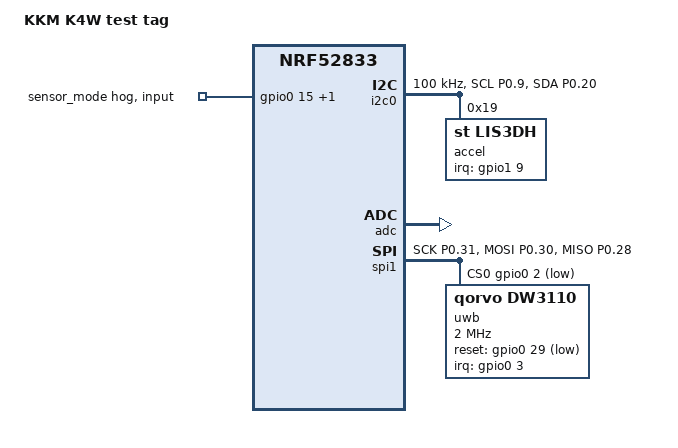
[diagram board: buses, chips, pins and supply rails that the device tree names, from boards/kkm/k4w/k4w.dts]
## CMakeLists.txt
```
cmake_minimum_required(VERSION 3.20.0)
list(APPEND BOARD_ROOT ${CMAKE_CURRENT_SOURCE_DIR})
find_package(Zephyr REQUIRED HINTS $ENV{ZEPHYR_BASE})
project(binrange_k4w_tag)
zephyr_get(BINRANGE_RADIO_DIAGNOSTIC SYSBUILD LOCAL)
option(BINRANGE_RADIO_DIAGNOSTIC "Read radio identity only, no transmissions" ON)
if(BINRANGE_RADIO_DIAGNOSTIC)
  target_sources(app PRIVATE src/main.c)
else()
  target_sources(app PRIVATE src/ranging_main.cpp src/radio_port.cpp src/protocol.c
    ../shared/Dw3000/src/dw3000_device_api.cpp)
  target_include_directories(app PRIVATE ../shared/Dw3000/src)
  target_compile_definitions(app PRIVATE BINRANGE_ZEPHYR=1)
endif()
if(CONFIG_MCUMGR)
  target_sources(app PRIVATE src/ota_runtime.c src/update_policy.c src/motion_policy.c src/motion_settings.c src/tag_power.c src/tip_policy.c src/tip_monitor.c)
  target_compile_definitions(app PRIVATE BINRANGE_OTA=1)
endif()
```

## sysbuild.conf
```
SB_CONFIG_BOOTLOADER_MCUBOOT=y
SB_CONFIG_PARTITION_MANAGER=n
SB_CONFIG_MCUBOOT_MODE_SWAP_USING_OFFSET=y
SB_CONFIG_BOOT_SIGNATURE_TYPE_ECDSA_P256=y
```

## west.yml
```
manifest:
  projects:
    - name: nrf
      url: https://github.com/nrfconnect/sdk-nrf
      # Nordic SDK v3.3.0; its manifest pins every imported dependency.
      revision: ba167d9f3db4abbdc9b67887ca3ea66c64f2d956
      import:
        name-allowlist:
          - zephyr
          - cmsis
          - cmsis_6
          - hal_nordic
          - segger
          - picolibc
          - nrfxlib
          - mcuboot
          - mbedtls
          - oberon-psa-crypto
          - zcbor
  self:
    path: application
```

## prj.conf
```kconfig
CONFIG_GPIO=y
CONFIG_SPI=y
CONFIG_SERIAL=n
CONFIG_CONSOLE=n
CONFIG_UART_CONSOLE=n
CONFIG_LOG=n
CONFIG_PRINTK=n
CONFIG_MAIN_STACK_SIZE=2048
CONFIG_NRF_APPROTECT_USE_UICR=y
CONFIG_CLOCK_CONTROL_NRF_K32SRC_RC=y
CONFIG_CLOCK_CONTROL_NRF_K32SRC_XTAL=n
CONFIG_ASSERT=y
CONFIG_CPP=y
```

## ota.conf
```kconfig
# Build integration first; not a deployable updater until runtime gates exist.
CONFIG_FLASH=y
CONFIG_FLASH_MAP=y
CONFIG_FLASH_PAGE_LAYOUT=y
CONFIG_NVS=y
CONFIG_SETTINGS=y
CONFIG_SETTINGS_NVS=y
CONFIG_BT=y
CONFIG_BT_PERIPHERAL=y
CONFIG_BT_SMP=y
CONFIG_BT_SMP_SC_ONLY=y
CONFIG_BT_SMP_APP_PAIRING_ACCEPT=y
CONFIG_BT_APP_PASSKEY=y
CONFIG_BT_BONDABLE=y
CONFIG_BT_SETTINGS=y
CONFIG_BT_MAX_CONN=1
CONFIG_BT_MAX_PAIRED=2
CONFIG_BT_DEVICE_NAME="BinRange Test tag"
CONFIG_MCUMGR=y
CONFIG_NET_BUF=y
CONFIG_ZCBOR=y
CONFIG_MCUMGR_TRANSPORT_BT=y
CONFIG_MCUMGR_TRANSPORT_BT_PERM_RW_AUTHEN=y
CONFIG_MCUMGR_MGMT_NOTIFICATION_HOOKS=y
CONFIG_MCUMGR_SMP_COMMAND_STATUS_HOOKS=y
CONFIG_MCUMGR_GRP_IMG_ALLOW_CONFIRM_NON_ACTIVE_SLOT=n
CONFIG_MCUMGR_GRP_IMG_ALLOW_ERASE_PENDING=n
CONFIG_MCUMGR_TRANSPORT_BT_REASSEMBLY=y
CONFIG_MCUMGR_TRANSPORT_NETBUF_SIZE=512
CONFIG_MCUMGR_SMP_CBOR_MAX_MAIN_MAP_ENTRIES=24
CONFIG_MCUMGR_GRP_IMG=y
CONFIG_MCUMGR_GRP_OS=y
CONFIG_IMG_MANAGER=y
CONFIG_STREAM_FLASH=y
CONFIG_SYSTEM_WORKQUEUE_STACK_SIZE=2048
CONFIG_MAIN_STACK_SIZE=4096
CONFIG_HWINFO=y
CONFIG_SETTINGS_NVS_SECTOR_COUNT=5
CONFIG_GPIO_HOGS=y
CONFIG_I2C=y
CONFIG_SENSOR=y
CONFIG_LIS2DH=y
CONFIG_LIS2DH_TRIGGER_GLOBAL_THREAD=y
CONFIG_LIS2DH_OPER_MODE_LOW_POWER=y
CONFIG_LIS2DH_ACCEL_RANGE_2G=y
CONFIG_LIS2DH_ODR_3=y
CONFIG_LIS2DH_ACCEL_HP_FILTERS=y
CONFIG_ADC=y
# Fit application changes inside the existing signed slot; no layout migration.
CONFIG_LTO=y
CONFIG_ISR_TABLES_LOCAL_DECLARATION=y
CONFIG_PM_DEVICE=y
CONFIG_PM_DEVICE_RUNTIME=y
CONFIG_PM_DEVICE_RUNTIME_DEFAULT_ENABLE=n
# Bound a broken sensor bus so BLE/watchdog handling can continue.
CONFIG_I2C_NRFX_TRANSFER_TIMEOUT=50
```

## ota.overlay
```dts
/* Candidate 512-KiB layout; verifier must approve artifacts before flashing. */
/ {
    chosen { zephyr,code-partition = &slot0_partition; };
    aliases { sw0 = &tag_key; };
    buttons {
        compatible = "gpio-keys";
        tag_key: key { gpios = <&gpio0 4 (GPIO_PULL_UP | GPIO_ACTIVE_LOW)>; };
    };
};
&flash0 {
    partitions {
        compatible = "fixed-partitions";
        #address-cells = <1>;
        #size-cells = <1>;
        boot_partition: partition@0 {
            label = "mcuboot";
            reg = <0x0 0x10000>;
        };
        slot0_partition: partition@10000 {
            label = "image-0";
            reg = <0x10000 0x35000>;
        };
        slot1_partition: partition@45000 {
            label = "image-1";
            reg = <0x45000 0x36000>;
        };
        storage_partition: partition@7b000 {
            label = "storage";
            reg = <0x7b000 0x5000>;
        };
    };
};
```

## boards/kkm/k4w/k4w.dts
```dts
/dts-v1/;
#include <nordic/nrf52833_qdaa.dtsi>
#include <zephyr/dt-bindings/gpio/gpio.h>
#include <zephyr/dt-bindings/pinctrl/nrf-pinctrl.h>

/ {
	model = "KKM K4W test tag";
	compatible = "kkm,k4w";
	chosen {
		zephyr,sram = &sram0;
		zephyr,flash = &flash0;
	};
};

&gpio0 {
	status = "okay";
	/* Keep LIS3DH in I2C mode, address 0x19, without driving a strap. */
	sensor_mode {
		gpio-hog;
		gpios = <15 GPIO_PULL_UP>, <17 GPIO_PULL_UP>;
		input;
	};
};
&gpio1 { status = "okay"; };
&gpiote { status = "okay"; };

&pinctrl {
	sensor_i2c: sensor_i2c {
		group1 {
			psels = <NRF_PSEL(TWIM_SCL, 0, 9)>, <NRF_PSEL(TWIM_SDA, 0, 20)>;
			bias-pull-up;
		};
	};
	sensor_i2c_sleep: sensor_i2c_sleep {
		group1 {
			psels = <NRF_PSEL(TWIM_SCL, 0, 9)>, <NRF_PSEL(TWIM_SDA, 0, 20)>;
			low-power-enable;
			bias-pull-up;
		};
	};
	uwb_sleep: uwb_sleep {
		group1 {
			psels = <NRF_PSEL(SPIM_SCK, 0, 31)>,
				<NRF_PSEL(SPIM_MOSI, 0, 30)>, <NRF_PSEL(SPIM_MISO, 0, 28)>;
			low-power-enable;
		};
	};
	uwb_default: uwb_default {
		group1 {
			psels = <NRF_PSEL(SPIM_SCK, 0, 31)>,
				<NRF_PSEL(SPIM_MOSI, 0, 30)>,
				<NRF_PSEL(SPIM_MISO, 0, 28)>;
		};
	};
};

&i2c0 {
	compatible = "nordic,nrf-twim";
	status = "okay";
	clock-frequency = <100000>;
	pinctrl-0 = <&sensor_i2c>;
	pinctrl-1 = <&sensor_i2c_sleep>;
	pinctrl-names = "default", "sleep";
	zephyr,pm-device-runtime-auto;
	accel: accelerometer@19 {
		compatible = "st,lis3dh", "st,lis2dh";
		reg = <0x19>;
		irq-gpios = <&gpio1 9 GPIO_ACTIVE_HIGH>;
		anym-on-int1;
		int2-gpio-config = <1>; /* any-motion handler uses this even on INT1 */
	};
};

&adc { status = "okay"; };

&spi1 {
	compatible = "nordic,nrf-spim";
	status = "okay";
	pinctrl-0 = <&uwb_default>;
	pinctrl-1 = <&uwb_sleep>;
	pinctrl-names = "default", "sleep";
	zephyr,pm-device-runtime-auto;
	cs-gpios = <&gpio0 2 GPIO_ACTIVE_LOW>;
	uwb: uwb@0 {
		compatible = "qorvo,dw3110";
		reg = <0>;
		spi-max-frequency = <2000000>;
		reset-gpios = <&gpio0 29 GPIO_ACTIVE_LOW>;
		irq-gpios = <&gpio0 3 GPIO_ACTIVE_HIGH>;
	};
};
```

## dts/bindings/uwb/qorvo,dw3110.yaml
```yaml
description: BinRange DW3110 raw SPI hardware boundary
compatible: "qorvo,dw3110"
include: spi-device.yaml
properties:
  reset-gpios:
    type: phandle-array
    required: true
  irq-gpios:
    type: phandle-array
    required: true
```

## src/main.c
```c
/* Bench diagnostic: no radio TX, no flash/UICR writes, no BLE yet. */
#include <zephyr/kernel.h>
#include <zephyr/drivers/gpio.h>
#include <zephyr/drivers/spi.h>
#include <zephyr/sys/byteorder.h>

/* Locate with nm, inspect via SWD. Phase 3 means SPI reads are running;
 * it is not a claim that radio initialization or ranging has succeeded. */
volatile struct {
    uint32_t magic;
    uint32_t phase;
    int32_t error;
    uint32_t radio_id;
    uint32_t reads;
} tag_diag = { .magic = 0x42524447 };

static const struct spi_dt_spec radio =
    SPI_DT_SPEC_GET(DT_NODELABEL(uwb), SPI_WORD_SET(8) | SPI_TRANSFER_MSB, 0);
static const struct gpio_dt_spec reset =
    GPIO_DT_SPEC_GET(DT_NODELABEL(uwb), reset_gpios);

int main(void)
{
    tag_diag.phase = 1;
    if (!spi_is_ready_dt(&radio) || !gpio_is_ready_dt(&reset)) {
        tag_diag.error = -ENODEV;
        return 0;
    }
    /* Assert active-low reset, then RELEASE it; do not drive RSTn high. */
    int rc = gpio_pin_configure_dt(&reset, GPIO_OUTPUT_ACTIVE);
    if (rc) { tag_diag.error = rc; return 0; }
    k_msleep(2);
    rc = gpio_pin_configure_dt(&reset, GPIO_INPUT);
    if (rc) { tag_diag.error = rc; return 0; }
    k_msleep(10);
    tag_diag.phase = 2;
    while (true) {
        uint8_t tx[5] = {0}; /* Fast-access read, register file 0, offset 0. */
        uint8_t rx[5] = {0};
        struct spi_buf tx_buf = {.buf = tx, .len = sizeof(tx)};
        struct spi_buf rx_buf = {.buf = rx, .len = sizeof(rx)};
        struct spi_buf_set tx_set = {.buffers = &tx_buf, .count = 1};
        struct spi_buf_set rx_set = {.buffers = &rx_buf, .count = 1};
        rc = spi_transceive_dt(&radio, &tx_set, &rx_set);
        tag_diag.error = rc;
        if (!rc) {
            tag_diag.radio_id = sys_get_le32(rx + 1);
            tag_diag.reads++;
        }
        tag_diag.phase = 3;
        k_msleep(1000);
    }
}
```

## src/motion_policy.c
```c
#include "motion_policy.h"

#include <limits.h>
#include <stddef.h>

static uint64_t monotonic_now(const br_motion_state *state, uint64_t now) {
    return now < state->last_now ? state->last_now : now;
}

static uint64_t add_ms(uint64_t now, uint32_t duration_ms) {
    const uint64_t duration = duration_ms;
    if (UINT64_MAX - now < duration) return UINT64_MAX;
    return now + duration;
}

void br_motion_defaults(br_motion_config *config) {
    if (!config) return;
    config->moving_ms = 5000;
    config->idle_ms = 600000;
    config->quiet_ms = 30000;
    config->threshold_mg = 250;
    config->duration_samples = 2;
}

bool br_motion_config_valid(const br_motion_config *config) {
    if (!config) return false;
    return config->moving_ms >= 1000 && config->moving_ms <= 60000 &&
           config->idle_ms >= 60000 && config->idle_ms <= 3600000 &&
           config->quiet_ms >= 5000 && config->quiet_ms <= 300000 &&
           config->threshold_mg >= 32 && config->threshold_mg <= 1000 &&
           config->duration_samples >= 1 && config->duration_samples <= 127 &&
           config->idle_ms >= config->moving_ms;
}

void br_motion_init(br_motion_state *state, const br_motion_config *config,
                    uint64_t now) {
    if (!state) return;
    br_motion_config defaults;
    if (!br_motion_config_valid(config)) {
        br_motion_defaults(&defaults);
        config = &defaults;
    }
    state->config = *config;
    state->moving = false;
    state->wake_count = 0;
    state->next_report_at = now;
    state->quiet_deadline = now;
    state->last_now = now;
    state->report_pending = true;
    state->idle_retries = 0;
}

bool br_motion_due(const br_motion_state *state, uint64_t now) {
    if (!state) return false;
    now = monotonic_now(state, now);
    return state->report_pending || now >= state->next_report_at ||
           (state->moving && now >= state->quiet_deadline);
}

bool br_motion_update(br_motion_state *state, uint64_t now,
                      bool motion_event) {
    if (!state) return false;
    now = monotonic_now(state, now);
    state->last_now = now;

    if (motion_event) {
        if (!state->moving) {
            state->moving = true;
            state->idle_retries = 0;
            if (state->wake_count != UINT32_MAX) state->wake_count++;
            state->report_pending = true;
        }
        state->quiet_deadline = add_ms(now, state->config.quiet_ms);
    } else if (state->moving && now >= state->quiet_deadline) {
        state->moving = false;
        state->report_pending = true;
    }
    return br_motion_due(state, now);
}

void br_motion_reported(br_motion_state *state, uint64_t now) {
    if (!state) return;
    now = monotonic_now(state, now);
    state->last_now = now;
    state->report_pending = false;
    state->idle_retries = 0;
    state->next_report_at = add_ms(
        now, state->moving ? state->config.moving_ms : state->config.idle_ms);
}

void br_motion_attempted(br_motion_state *state, uint64_t now, bool sent) {
    if (!state) return;
    if (sent || state->moving || state->idle_retries >= 2) {
        br_motion_reported(state, now);
        return;
    }
    now = monotonic_now(state, now);
    state->last_now = now;
    state->report_pending = false;
    ++state->idle_retries;
    state->next_report_at = add_ms(now, 5000);
}

bool br_motion_reconfigure(br_motion_state *state,
                           const br_motion_config *config, uint64_t now) {
    if (!state || !br_motion_config_valid(config)) return false;
    now = monotonic_now(state, now);
    state->last_now = now;
    state->config = *config;
    state->idle_retries = 0;
    if (state->moving) state->quiet_deadline = add_ms(now, config->quiet_ms);
    state->report_pending = true;
    return true;
}
```

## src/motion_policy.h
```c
#pragma once

#include <stdbool.h>
#include <stdint.h>

#ifdef __cplusplus
extern "C" {
#endif

typedef struct br_motion_config {
    uint32_t moving_ms;
    uint32_t idle_ms;
    uint32_t quiet_ms;
    uint32_t threshold_mg;
    uint32_t duration_samples;
} br_motion_config;

typedef struct br_motion_state {
    br_motion_config config;
    bool moving;
    uint32_t wake_count;
    uint64_t next_report_at;
    uint64_t quiet_deadline;
    uint64_t last_now;
    bool report_pending;
    uint8_t idle_retries;
} br_motion_state;

void br_motion_defaults(br_motion_config *config);
bool br_motion_config_valid(const br_motion_config *config);
void br_motion_init(br_motion_state *state, const br_motion_config *config,
                    uint64_t now);
bool br_motion_update(br_motion_state *state, uint64_t now,
                      bool motion_event);
bool br_motion_due(const br_motion_state *state, uint64_t now);
void br_motion_reported(br_motion_state *state, uint64_t now);
/* Local TX success is not proof that the anchor received the FINAL. */
void br_motion_attempted(br_motion_state *state, uint64_t now, bool sent);
bool br_motion_reconfigure(br_motion_state *state,
                           const br_motion_config *config, uint64_t now);

#ifdef __cplusplus
}
#endif
```

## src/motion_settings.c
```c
#include "motion_settings.h"

void br_motion_settings_init(struct br_motion_settings *s) {
    br_motion_defaults(&s->wanted);
    s->revision = 1; s->applying = 0; s->pending = true;
}
void br_motion_settings_saved(struct br_motion_settings *s, const struct br_motion_config *c) {
    s->wanted = *c; ++s->revision; s->pending = true;
}
bool br_motion_settings_take(struct br_motion_settings *s, struct br_motion_config *out) {
    *out = s->wanted; s->applying = s->revision;
    return s->pending;
}
void br_motion_settings_applied(struct br_motion_settings *s) {
    if (s->applying == s->revision) s->pending = false;
}
```

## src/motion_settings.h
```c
#ifndef BR_MOTION_SETTINGS_H
#define BR_MOTION_SETTINGS_H
#include "motion_policy.h"

/* Owner supplies synchronization. A take is not an application acknowledgment.
 * A new save while the main owner applies an older record remains pending. */
struct br_motion_settings {
    struct br_motion_config wanted;
    uint64_t revision, applying;
    bool pending;
};
void br_motion_settings_init(struct br_motion_settings *state);
void br_motion_settings_saved(struct br_motion_settings *state, const struct br_motion_config *config);
bool br_motion_settings_take(struct br_motion_settings *state, struct br_motion_config *out);
void br_motion_settings_applied(struct br_motion_settings *state);
#endif
```

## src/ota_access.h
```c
#ifndef BR_OTA_ACCESS_H
#define BR_OTA_ACCESS_H
#include "update_policy.h"

/* Header-only runtime decisions; all times are monotonic uint64 milliseconds. */
struct br_ota_access {
    uint64_t start_ms, activity_ms, cooldown_until_ms, pairing_until_ms;
    unsigned attempts;
    bool open;
};
static inline bool br_ota_access_allowed(const struct br_ota_access *a,
                                        uint64_t now, bool authenticated) {
    return authenticated && a->open && now-a->start_ms < 600000 &&
           now-a->activity_ms < 60000;
}
static inline bool br_ota_authenticated(const struct br_ota_access *a, uint64_t now,
                                       bool admitted, bool secure) {
    return admitted && secure && br_ota_access_allowed(a, now, true);
}
static inline void br_ota_expire(struct br_ota_access *a, uint64_t now) {
    if (a->open && !br_ota_access_allowed(a, now, true)) {
        uint64_t end = a->start_ms + 600000;
        if (a->activity_ms + 60000 < end) end = a->activity_ms + 60000;
        a->open = false;
        a->pairing_until_ms = 0;
        a->cooldown_until_ms = end + 60000;
    }
}
static inline bool br_ota_pairing_allowed(const struct br_ota_access *a, uint64_t now) {
    return br_ota_access_allowed(a, now, true) && now < a->pairing_until_ms;
}
static inline bool br_ota_local(struct br_ota_access *a, uint64_t now) {
    br_ota_expire(a, now);
    if (now < a->cooldown_until_ms) return false;
    if (!a->open) {
        a->open = true; a->attempts = 0;
        a->start_ms = a->activity_ms = now;
    }
    a->pairing_until_ms = now + 60000;
    return true;
}
static inline bool br_ota_attempt(struct br_ota_access *a, uint64_t now, bool known) {
    br_ota_expire(a, now);
    if (now < a->cooldown_until_ms || (!known && !br_ota_pairing_allowed(a, now)))
        return false;
    if (!a->open) {
        a->open = true; a->attempts = 0;
        a->start_ms = a->activity_ms = now;
    }
    if (a->attempts >= 3) return false;
    a->attempts++;
    return true;
}
static inline void br_ota_end_attempt(struct br_ota_access *a, uint64_t now) {
    br_ota_expire(a, now);
    if (a->open && a->attempts >= 3) {
        a->open = false; a->pairing_until_ms = 0;
        a->cooldown_until_ms = now + 60000;
    }
}
static inline bool br_ota_activity(struct br_ota_access *a, uint64_t now, bool auth) {
    br_ota_expire(a, now);
    if (!br_ota_access_allowed(a, now, auth)) return false;
    a->activity_ms = now;
    return true;
}
static inline void br_ota_consume_cookie(volatile uint32_t cookie[5], uint32_t copy[5]) {
    for (unsigned i=0; i<5; i++) { copy[i] = cookie[i]; cookie[i] = 0; }
}
static inline int br_ota_provision(const uint32_t cookie[5], bool loaded, bool corrupt,
                                  uint32_t id0, uint32_t id1) {
    if (corrupt) return -1;
    if (loaded) return 0;
    if (cookie[0] != 0x42525056 || cookie[1] != 0x53445731 ||
        cookie[2] == 0 || cookie[2] > 0xfffe || cookie[3] != id0 || cookie[4] != id1)
        return -1;
    return (int)cookie[2];
}
static inline void br_ota_ad_result(bool *healthy, int result) {
    *healthy = result == 0;
}
static inline bool br_ota_health(struct br_update_policy *p, uint64_t now,
                                bool radio, bool ble) {
    br_update_policy_health(p, now, radio, ble);
    br_update_policy_progress(p, now);
    return br_update_policy_confirmation_ready(p, now);
}
#endif
```

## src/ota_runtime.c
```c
/* Tag-local confirmation and authenticated, bounded BLE management. */
#include "ota_runtime.h"
#include "update_policy.h"
#include "update_commands.h"
#include "ota_access.h"
#include "tag_power.h"
#include <zephyr/kernel.h>
#include <zephyr/drivers/gpio.h>
#include <zephyr/drivers/hwinfo.h>
#include <zephyr/bluetooth/bluetooth.h>
#include <zephyr/bluetooth/conn.h>
#include <zephyr/bluetooth/hci.h>
#include <zephyr/settings/settings.h>
#include <zephyr/random/random.h>
#include <zephyr/sys/atomic.h>
#include <zephyr/dfu/mcuboot.h>
#include <zephyr/mgmt/mcumgr/mgmt/callbacks.h>
#include <zephyr/mgmt/mcumgr/transport/smp_bt.h>
#include <zephyr/app_version.h>
#include <hal/nrf_wdt.h>
#include <zcbor_encode.h>
#include <zcbor_decode.h>
#include <mgmt/mcumgr/util/zcbor_bulk.h>
#include <stdio.h>
#include <string.h>
#include <errno.h>

static K_MUTEX_DEFINE(lock);
static struct br_update_policy policy;
static struct br_ota_access access;
static struct bt_conn *peer;
static bool ble_ok, authorized, advertising, loaded, peer_admitted;
static atomic_t connection_available = ATOMIC_INIT(1);
static int identity_error;
static uint64_t connected_ms, next_ad_ms;
static bool key_was_down, fast_ad;
static struct gpio_callback key_callback;
static uint32_t reset_reason;
static char hardware_id[17];
static struct { uint32_t magic; uint16_t schema, tag; uint32_t passkey; } identity;
static const struct gpio_dt_spec key = GPIO_DT_SPEC_GET(DT_ALIAS(sw0), gpios);
static void key_changed(const struct device *dev, struct gpio_callback *cb, uint32_t pins) {
    ARG_UNUSED(dev); ARG_UNUSED(cb); ARG_UNUSED(pins);
    br_app_wake();
}

/* Private commissioning PIN is SWD-readable, never advertised or sent in status.
 * SWD already gives full physical access. Keep captured value out of public logs. */
volatile uint32_t ota_pairing_pin;
volatile uint32_t ota_local_request; /* trusted jig can write 0x4d41494e */
/* Written by the identity-guarded SWD jig after reset halt, before first run. */
/* Keep above MCUboot's current 0x3b28 RAM footprint. Artifact preflight must
 * recheck non-overlap whenever either image changes; alignment alone is not
 * a guarantee against future bootloader growth. */
__attribute__((section(".noinit"), aligned(16384), used))
volatile uint32_t ota_provision_request[5];
volatile struct {
    uint32_t magic, ready, error, confirmed, watchdog, reset_reason;
    uint32_t accepted, rejected, maintenance;
} ota_diag = { .magic = 0x42524f54 };

static int identity_load(const char *name, size_t len, settings_read_cb read_cb, void *arg) {
    if (strcmp(name, "identity")) return -ENOENT;
    if (len != sizeof(identity)) return identity_error = -EINVAL;
    int n = read_cb(arg, &identity, sizeof(identity));
    if (n != sizeof(identity) || identity.magic != 0x42524944 || identity.schema != 1 ||
        identity.tag == 0 || identity.tag == 0xffff || identity.passkey > 999999)
        return identity_error = -EINVAL;
    loaded = true;
    return 0;
}
static struct settings_handler settings = { .name = "binrange", .h_set = identity_load };

static const struct bt_data ad[] = {
    BT_DATA_BYTES(BT_DATA_FLAGS, BT_LE_AD_GENERAL | BT_LE_AD_NO_BREDR),
    BT_DATA_BYTES(BT_DATA_UUID128_ALL, SMP_BT_SVC_UUID_VAL),
};
static const struct bt_data sd[] = {
    BT_DATA(BT_DATA_NAME_COMPLETE, CONFIG_BT_DEVICE_NAME, sizeof(CONFIG_BT_DEVICE_NAME)-1),
};

struct bond_lookup { struct bt_conn *conn; bool known; };
static void bond_match(const struct bt_bond_info *info, void *data) {
    struct bond_lookup *lookup = data;
    if (!bt_addr_le_cmp(&info->addr, bt_conn_get_dst(lookup->conn))) lookup->known = true;
}
static void connected(struct bt_conn *conn, uint8_t err) {
    k_mutex_lock(&lock, K_FOREVER);
    uint64_t now = k_uptime_get();
    struct bond_lookup lookup = { .conn = conn };
    bt_foreach_bond(BT_ID_DEFAULT, bond_match, &lookup);
    bool allowed = br_ota_attempt(&access, now, lookup.known);
    advertising = false;
    atomic_clear(&connection_available);
    if (err) {
        if (allowed) br_ota_end_attempt(&access, now);
        k_mutex_unlock(&lock);
        br_app_wake();
        return;
    }
    peer = bt_conn_ref(conn);
    peer_admitted = allowed;
    connected_ms = now;
    authorized = false;
    advertising = false;
    k_mutex_unlock(&lock);
    br_app_wake();
    if (!allowed) bt_conn_disconnect(conn, BT_HCI_ERR_AUTH_FAIL);
    else if (bt_conn_set_security(conn, BT_SECURITY_L4))
        bt_conn_disconnect(conn, BT_HCI_ERR_AUTH_FAIL);
}
static void disconnected(struct bt_conn *conn, uint8_t reason) {
    ARG_UNUSED(reason);
    k_mutex_lock(&lock, K_FOREVER);
    if (peer == conn) {
        bt_conn_unref(peer); peer = NULL;
        peer_admitted = false;
        br_ota_end_attempt(&access, k_uptime_get());
    }
    authorized = false;
    advertising = false;
    next_ad_ms = k_uptime_get() + 1000;
    k_mutex_unlock(&lock);
    br_app_wake();
}
static void recycled(void) {
    /* The stack still owns a reference during disconnected(). Only signal
     * here: advertising/HCI work runs in the application thread, never in
     * the stack's recycled callback (which can run on its system workqueue). */
    atomic_set(&connection_available, 1);
    br_app_wake();
}
static void security_changed(struct bt_conn *conn, bt_security_t level, enum bt_security_err err) {
    k_mutex_lock(&lock, K_FOREVER);
    bool allowed = conn == peer && br_ota_authenticated(&access, k_uptime_get(),
        peer_admitted, !err && level == BT_SECURITY_L4);
    if (conn == peer) authorized = allowed;
    k_mutex_unlock(&lock);
    br_app_wake();
    if (!allowed) bt_conn_disconnect(conn, BT_HCI_ERR_AUTH_FAIL);
}
BT_CONN_CB_DEFINE(connection_callbacks) = {
    .connected = connected, .disconnected = disconnected, .security_changed = security_changed,
    .recycled = recycled,
};
static enum bt_security_err pairing_accept(struct bt_conn *conn,
                                         const struct bt_conn_pairing_feat *const feat) {
    ARG_UNUSED(conn); ARG_UNUSED(feat);
    k_mutex_lock(&lock, K_FOREVER);
    bool allowed = conn == peer && peer_admitted &&
        br_ota_pairing_allowed(&access, k_uptime_get());
    k_mutex_unlock(&lock);
    return allowed ? BT_SECURITY_ERR_SUCCESS : BT_SECURITY_ERR_PAIR_NOT_ALLOWED;
}
static void passkey_display(struct bt_conn *conn, unsigned int passkey) {
    ARG_UNUSED(conn); ARG_UNUSED(passkey); /* PIN delivered through physical provisioning only. */
}
static void auth_cancel(struct bt_conn *conn) { bt_conn_disconnect(conn, BT_HCI_ERR_AUTH_FAIL); }
static uint32_t app_passkey(struct bt_conn *conn) { ARG_UNUSED(conn); return identity.passkey; }
static const struct bt_conn_auth_cb auth = {
    .pairing_accept = pairing_accept, .passkey_display = passkey_display, .cancel = auth_cancel,
    .app_passkey = app_passkey,
};

static enum mgmt_cb_return command_check(uint32_t event, enum mgmt_cb_return previous,
        int32_t *rc, uint16_t *group, bool *abort_more, void *data, size_t len) {
    ARG_UNUSED(event); ARG_UNUSED(group);
    if (previous != MGMT_CB_OK) return previous;
    struct mgmt_evt_op_cmd_arg *cmd = data;
    k_mutex_lock(&lock, K_FOREVER);
    bool allowed = len == sizeof(*cmd) &&
        br_ota_command_allowed(cmd->group, cmd->id, cmd->op, boot_is_img_confirmed()) &&
        br_ota_activity(&access, k_uptime_get(), authorized);
    if (allowed) ota_diag.accepted++; else ota_diag.rejected++;
    k_mutex_unlock(&lock);
    if (allowed) return MGMT_CB_OK;
    *rc = MGMT_ERR_EACCESSDENIED;
    *abort_more = true;
    return MGMT_CB_ERROR_RC;
}
static struct mgmt_callback command_callback = {
    .callback = command_check, .event_id = MGMT_EVT_OP_CMD_RECV,
};

static int status_read(struct smp_streamer *ctxt) {
    BUILD_ASSERT(CONFIG_MCUMGR_SMP_CBOR_MAX_MAIN_MAP_ENTRIES >= 22,
                 "status includes motion/power diagnostics");
    zcbor_state_t *z = ctxt->writer->zs;
    struct br_power_status power;
    br_power_status_get(&power);
    k_mutex_lock(&lock, K_FOREVER);
    bool ok = zcbor_tstr_put_lit(z, "id") && zcbor_tstr_put_term(z, hardware_id, sizeof(hardware_id)) &&
        zcbor_tstr_put_lit(z, "tag") && zcbor_uint32_put(z, identity.tag) &&
        zcbor_tstr_put_lit(z, "version") && zcbor_tstr_put_lit(z, APP_VERSION_STRING) &&
        zcbor_tstr_put_lit(z, "confirmed") && zcbor_bool_put(z, boot_is_img_confirmed()) &&
        zcbor_tstr_put_lit(z, "uptime_ms") && zcbor_uint64_put(z, k_uptime_get()) &&
        zcbor_tstr_put_lit(z, "reset_reason") && zcbor_uint32_put(z, reset_reason) &&
        zcbor_tstr_put_lit(z, "maintenance") &&
        zcbor_bool_put(z, br_ota_access_allowed(&access, k_uptime_get(), true)) &&
        zcbor_tstr_put_lit(z, "radio_ok") && zcbor_bool_put(z, policy.radio_healthy) &&
        zcbor_tstr_put_lit(z, "ble_ok") && zcbor_bool_put(z, ble_ok) &&
        zcbor_tstr_put_lit(z, "sensor_error") && zcbor_int32_put(z, power.sensor_error) &&
        zcbor_tstr_put_lit(z, "moving") && zcbor_bool_put(z, power.moving) &&
        zcbor_tstr_put_lit(z, "wake_count") && zcbor_uint32_put(z, power.wake_count) &&
        zcbor_tstr_put_lit(z, "irq_count") && zcbor_uint32_put(z, power.irq_count) &&
        zcbor_tstr_put_lit(z, "battery_mv") && zcbor_uint32_put(z, power.battery_mv) &&
        zcbor_tstr_put_lit(z, "misses") && zcbor_uint32_put(z, power.misses) &&
        zcbor_tstr_put_lit(z, "uwb_sleeping") && zcbor_bool_put(z, power.sleeping) &&
        zcbor_tstr_put_lit(z, "config_pending") && zcbor_bool_put(z, power.config_pending) &&
        zcbor_tstr_put_lit(z, "config_schema") && zcbor_uint32_put(z, 1) &&
        zcbor_tstr_put_lit(z, "tip_ready") && zcbor_bool_put(z, power.tip_ready) &&
        zcbor_tstr_put_lit(z, "tip_count") && zcbor_uint32_put(z, power.tip_count) &&
        zcbor_tstr_put_lit(z, "tip_age_s") && zcbor_uint32_put(z, power.tip_age_s) &&
        zcbor_tstr_put_lit(z, "tip_error") && zcbor_int32_put(z, power.tip_error);
    k_mutex_unlock(&lock);
    return ok ? MGMT_ERR_EOK : MGMT_ERR_EMSGSIZE;
}
static int config_read(struct smp_streamer *ctxt) {
    struct br_motion_config c;
    br_power_config_get(&c);
    zcbor_state_t *z = ctxt->writer->zs;
    bool ok = zcbor_tstr_put_lit(z, "moving_ms") && zcbor_uint32_put(z, c.moving_ms) &&
        zcbor_tstr_put_lit(z, "idle_ms") && zcbor_uint32_put(z, c.idle_ms) &&
        zcbor_tstr_put_lit(z, "quiet_ms") && zcbor_uint32_put(z, c.quiet_ms) &&
        zcbor_tstr_put_lit(z, "threshold_mg") && zcbor_uint32_put(z, c.threshold_mg) &&
        zcbor_tstr_put_lit(z, "duration_samples") && zcbor_uint32_put(z, c.duration_samples);
    return ok ? MGMT_ERR_EOK : MGMT_ERR_EMSGSIZE;
}
static int config_write(struct smp_streamer *ctxt) {
    if (!boot_is_img_confirmed()) return MGMT_ERR_EBUSY;
    struct br_motion_config c = {0};
    struct zcbor_map_decode_key_val fields[] = {
        ZCBOR_MAP_DECODE_KEY_DECODER("moving_ms", zcbor_uint32_decode, &c.moving_ms),
        ZCBOR_MAP_DECODE_KEY_DECODER("idle_ms", zcbor_uint32_decode, &c.idle_ms),
        ZCBOR_MAP_DECODE_KEY_DECODER("quiet_ms", zcbor_uint32_decode, &c.quiet_ms),
        ZCBOR_MAP_DECODE_KEY_DECODER("threshold_mg", zcbor_uint32_decode, &c.threshold_mg),
        ZCBOR_MAP_DECODE_KEY_DECODER("duration_samples", zcbor_uint32_decode, &c.duration_samples),
    };
    size_t matched = 0;
    if (zcbor_map_decode_bulk(ctxt->reader->zs, fields, ARRAY_SIZE(fields), &matched) ||
        matched != ARRAY_SIZE(fields) || !br_motion_config_valid(&c)) return MGMT_ERR_EINVAL;
    if (br_power_config_save(&c)) return MGMT_ERR_EUNKNOWN;
    /* Saved, then applied by main owner; status exposes pending/sensor_error. */
    return config_read(ctxt);
}
static int trial_write(struct smp_streamer *ctxt) {
    ARG_UNUSED(ctxt);
    if (!boot_is_img_confirmed()) return MGMT_ERR_EBUSY;
    return boot_request_upgrade(BOOT_UPGRADE_TEST) ? MGMT_ERR_EUNKNOWN : MGMT_ERR_EOK;
}
static const struct mgmt_handler handlers[] = {
    { .mh_read = status_read }, { .mh_write = trial_write },
    { .mh_read = config_read, .mh_write = config_write },
};
static struct mgmt_group group = {
    .mg_handlers = handlers, .mg_handlers_count = ARRAY_SIZE(handlers), .mg_group_id = 64,
};

int br_ota_init(void) {
    uint32_t provision[5];
    /* Consume even malformed/stale requests before any stack/settings writes. */
    br_ota_consume_cookie(ota_provision_request, provision);
    br_update_policy_init(&policy, k_uptime_get(), !boot_is_img_confirmed());
    ota_diag.watchdog = NRF_WDT0->RUNSTATUS;
    if (!ota_diag.watchdog) return -ENODEV;
    hwinfo_get_reset_cause(&reset_reason);
    ota_diag.reset_reason = reset_reason;
    hwinfo_clear_reset_cause();
    snprintf(hardware_id, sizeof(hardware_id), "%08x%08x",
             (unsigned)NRF_FICR->DEVICEID[0], (unsigned)NRF_FICR->DEVICEID[1]);
    if (!gpio_is_ready_dt(&key)) return -ENODEV;
    int rc = gpio_pin_configure_dt(&key, GPIO_INPUT);
    if (rc) return rc;
    gpio_init_callback(&key_callback, key_changed, BIT(key.pin));
    if ((rc = gpio_add_callback(key.port, &key_callback)) ||
        (rc = gpio_pin_interrupt_configure_dt(&key, GPIO_INT_EDGE_BOTH))) return rc;
    if ((rc = settings_subsys_init()) || (rc = settings_register(&settings)) ||
        (rc = br_power_settings_init()) ||
        (rc = bt_conn_auth_cb_register(&auth)) || (rc = bt_enable(NULL)) ||
        (rc = settings_load())) return rc;
    /* Some settings backends continue enumeration after a handler rejects data. */
    if (identity_error) return identity_error;
    int requested_tag = br_ota_provision(provision, loaded, identity_error != 0,
                                        NRF_FICR->DEVICEID[0], NRF_FICR->DEVICEID[1]);
    if (requested_tag < 0) return -EACCES;
    if (requested_tag > 0) {
        uint32_t random;
        if ((rc = sys_csrand_get(&random, sizeof(random)))) return rc;
        identity.magic = 0x42524944; identity.schema = 1; identity.tag = requested_tag;
        identity.passkey = random % 1000000;
        if ((rc = settings_save_one("binrange/identity", &identity, sizeof(identity)))) return rc;
        br_ota_local(&access, k_uptime_get());
    }
    ota_pairing_pin = identity.passkey;
    mgmt_callback_register(&command_callback);
    mgmt_register_group(&group);
    ble_ok = false; /* First successful advertisement establishes availability. */
    ota_diag.ready = 1;
    return 0;
}
uint16_t br_ota_tag_id(void) { return identity.tag; }
bool br_ota_trial(void) { return !boot_is_img_confirmed(); }
uint32_t br_ota_poll_interval(void) {
    k_mutex_lock(&lock, K_FOREVER);
    uint32_t interval = peer || key_was_down ? 100 :
        policy.trial || access.open || !advertising ? 1000 : 10000;
    k_mutex_unlock(&lock);
    return interval;
}
bool br_ota_radio_paused(void) {
    k_mutex_lock(&lock, K_FOREVER);
    bool paused = peer != NULL;
    k_mutex_unlock(&lock);
    return paused;
}
void br_ota_poll(bool radio_healthy) {
    static uint64_t key_down_ms;
    bool key_down = gpio_pin_get_dt(&key) > 0;
    struct bt_conn *drop = NULL;
    k_mutex_lock(&lock, K_FOREVER);
    /* Connection callbacks update timestamps under this same mutex. Sampling
     * before acquisition can predate their state and underflow elapsed time. */
    uint64_t now = k_uptime_get();
    if (key_down && !key_was_down) key_down_ms = now;
    if ((!key_down && key_was_down && now-key_down_ms >= 1000) ||
        ota_local_request == 0x4d41494e) {
        br_ota_local(&access, now);
        ota_local_request = 0;
    }
    key_was_down = key_down;
    br_ota_expire(&access, now);
    ota_diag.maintenance = br_ota_access_allowed(&access, now, true);
    if (peer && ((!authorized && now-connected_ms >= 10000) ||
        (authorized && !br_ota_access_allowed(&access, now, true))))
        drop = bt_conn_ref(peer);
    bool want_fast = br_ota_pairing_allowed(&access, now);
    if (!peer && advertising && fast_ad != want_fast) {
        int rc = bt_le_adv_stop();
        br_ota_ad_result(&ble_ok, rc);
        if (!rc) { advertising = false; next_ad_ms = now; }
        else ota_diag.error = rc;
    }
    if (!peer && !advertising && atomic_get(&connection_available) && now >= next_ad_ms) {
        const struct bt_le_adv_param *params = want_fast ? BT_LE_ADV_CONN_FAST_1 :
            BT_LE_ADV_PARAM(BT_LE_ADV_OPT_CONN, 3200, 3360, NULL); /* 2.0–2.1 s */
        int rc = bt_le_adv_start(params, ad, ARRAY_SIZE(ad), sd, ARRAY_SIZE(sd));
        br_ota_ad_result(&ble_ok, rc);
        if (!rc) { advertising = true; fast_ad = want_fast; }
        else ota_diag.error = rc;
        next_ad_ms = now + 5000;
    }
    /* Observe every start/stop result before deciding to confirm this image. */
    struct br_power_status power;
    br_power_status_get(&power);
    if (br_ota_health(&policy, now, radio_healthy && !power.sensor_error, ble_ok)) {
        int rc = boot_write_img_confirmed();
        ota_diag.error = rc;
        if (!rc) policy.trial = false;
    }
    ota_diag.confirmed = boot_is_img_confirmed();
    /* An unconfirmed app that cannot become locally healthy must reset/revert. */
    bool feed = !policy.trial || now-policy.boot_ms < 90000;
    k_mutex_unlock(&lock);
    if (drop) { bt_conn_disconnect(drop, BT_HCI_ERR_REMOTE_USER_TERM_CONN); bt_conn_unref(drop); }
    if (feed) NRF_WDT0->RR[0] = 0x6e524635;
}
```

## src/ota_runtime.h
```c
#ifndef BR_OTA_RUNTIME_H
#define BR_OTA_RUNTIME_H
#include <stdbool.h>
#include <stdint.h>
#ifdef __cplusplus
extern "C" {
#endif
int br_ota_init(void);
uint16_t br_ota_tag_id(void);
/* Main owner polls after events/deadlines and at least every 10 s for watchdog.
 * Trial/connected/button states request a shorter interval. */
void br_ota_poll(bool radio_healthy);
bool br_ota_radio_paused(void);
bool br_ota_trial(void);
uint32_t br_ota_poll_interval(void);
#ifdef __cplusplus
}
#endif
#endif
```

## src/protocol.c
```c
#include "protocol.h"
#include <string.h>

uint32_t br_final_schedule(uint64_t response_rx) {
    /* Zephyr's SPI port needs more margin than the original ESP32 port.
     * FINAL remains inside the unchanged anchor's 8000-UUS receive window. */
    return (uint32_t)((response_rx + 4500ULL * 65536) >> 8);
}
uint64_t br_final_timestamp(uint32_t scheduled, uint16_t antenna_delay) {
    return ((uint64_t)(scheduled & 0xfffffffeUL) << 8) + antenna_delay;
}

static void header(uint8_t *out, uint16_t tag, uint8_t sequence, uint8_t function) {
    const uint8_t prefix[10] = {0x41,0x88,sequence,0xca,0xde,0x57,0x41,
                                (uint8_t)tag,(uint8_t)(tag>>8),function};
    memcpy(out, prefix, sizeof(prefix));
}
void br_poll(uint8_t out[12], uint16_t tag, uint8_t sequence) {
    memset(out, 0, 12);
    header(out, tag, sequence, 0x21);
}
static void le32(uint8_t *out, uint32_t value) {
    for (unsigned i=0; i<4; i++) out[i] = (uint8_t)(value >> (8*i));
}
void br_final(uint8_t out[BR_FINAL_LEN], uint16_t tag, uint8_t sequence,
              uint32_t poll_tx, uint32_t response_rx, uint32_t final_tx) {
    memset(out, 0, BR_FINAL_LEN);
    header(out, tag, sequence, 0x23);
    le32(out+10, poll_tx);
    le32(out+14, response_rx);
    le32(out+18, final_tx);
}
void br_final_telemetry(uint8_t out[BR_FINAL_TELEMETRY_LEN], uint16_t tag,
                        uint8_t sequence, uint32_t poll_tx,
                        uint32_t response_rx, uint32_t final_tx,
                        uint16_t batt_mv, uint8_t flags, uint16_t misses,
                        uint32_t wake_count) {
    memset(out, 0, BR_FINAL_TELEMETRY_LEN);
    header(out, tag, sequence, 0x23);
    le32(out + 10, poll_tx);
    le32(out + 14, response_rx);
    le32(out + 18, final_tx);
    out[22] = (uint8_t)batt_mv;
    out[23] = (uint8_t)(batt_mv >> 8);
    out[24] = flags;
    out[25] = (uint8_t)misses;
    out[26] = (uint8_t)(misses >> 8);
    le32(out + 27, wake_count);
}
void br_final_tipping(uint8_t out[BR_FINAL_TIPPING_LEN], uint16_t tag,
                        uint8_t sequence, uint32_t poll_tx,
                        uint32_t response_rx, uint32_t final_tx,
                        uint16_t batt_mv, uint8_t flags, uint16_t misses,
                        uint32_t wake_count, uint32_t tip_count, uint32_t tip_age_s) {
    memset(out, 0, BR_FINAL_TIPPING_LEN);
    br_final_telemetry(out, tag, sequence, poll_tx, response_rx, final_tx,
                       batt_mv, flags, misses, wake_count);
    le32(out + 31, tip_count);
    le32(out + 35, tip_age_s);
}
bool br_response_valid(const uint8_t *frame, size_t length, uint16_t tag) {
    if (!frame || length != 14) return false;
    const uint8_t expected[10] = {0x41,0x88,frame[2],0xca,0xde,
                                  (uint8_t)tag,(uint8_t)(tag>>8),0x57,0x41,0x10};
    return memcmp(frame, expected, sizeof(expected)) == 0;
}
```

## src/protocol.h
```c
#pragma once
#include <stdint.h>
#include <stddef.h>
#include <stdbool.h>
#ifdef __cplusplus
extern "C" {
#endif
#define BR_FINAL_LEN 24
#define BR_FINAL_TELEMETRY_LEN 33
#define BR_FINAL_TIPPING_LEN 41
#define BR_FINAL_FLAG_TIP_READY    0x04
#define BR_FINAL_FLAG_MOVING       0x01
#define BR_FINAL_FLAG_SENSOR_FAULT 0x02
void br_poll(uint8_t out[12], uint16_t tag, uint8_t sequence);
void br_final(uint8_t out[BR_FINAL_LEN], uint16_t tag, uint8_t sequence,
              uint32_t poll_tx, uint32_t response_rx, uint32_t final_tx);
void br_final_telemetry(uint8_t out[BR_FINAL_TELEMETRY_LEN], uint16_t tag,
                        uint8_t sequence, uint32_t poll_tx,
                        uint32_t response_rx, uint32_t final_tx,
                        uint16_t batt_mv, uint8_t flags, uint16_t misses,
                        uint32_t wake_count);
void br_final_tipping(uint8_t out[BR_FINAL_TIPPING_LEN], uint16_t tag,
                        uint8_t sequence, uint32_t poll_tx,
                        uint32_t response_rx, uint32_t final_tx,
                        uint16_t batt_mv, uint8_t flags, uint16_t misses,
                        uint32_t wake_count, uint32_t tip_count, uint32_t tip_age_s);
bool br_response_valid(const uint8_t *frame, size_t length, uint16_t tag);
uint32_t br_final_schedule(uint64_t response_rx);
uint64_t br_final_timestamp(uint32_t scheduled, uint16_t antenna_delay);
#ifdef __cplusplus
}
#endif
```

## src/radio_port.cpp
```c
/* One polling owner of the DW3110; its IRQ is not connected to a handler. */
#include <zephyr/kernel.h>
#include <zephyr/drivers/gpio.h>
#include <zephyr/drivers/spi.h>
#include "dw3000_device_api.h"
#include "radio_port.h"

volatile int radio_port_error;
static const spi_dt_spec radio =
    SPI_DT_SPEC_GET(DT_NODELABEL(uwb), SPI_WORD_SET(8) | SPI_TRANSFER_MSB, 0);
static const gpio_dt_spec reset = GPIO_DT_SPEC_GET(DT_NODELABEL(uwb), reset_gpios);

int radio_port_init() {
    if (!spi_is_ready_dt(&radio) || !gpio_is_ready_dt(&reset)) return -ENODEV;
    int rc = gpio_pin_configure_dt(&reset, GPIO_OUTPUT_ACTIVE);
    if (rc) return rc;
    k_msleep(2);
    rc = gpio_pin_configure_dt(&reset, GPIO_INPUT);
    k_msleep(10);
    return rc;
}

static int checked(int rc) {
    if (rc) {
        radio_port_error = rc;
        /* The vendor driver discards SPI return codes. Fail closed instead
         * of letting it use partial data or continue a radio transaction. */
        k_panic();
    }
    return rc;
}

int writetospi(uint16_t hn, uint8_t *h, uint16_t bn, uint8_t *b) {
    spi_buf buffers[] = {{h, hn}, {b, bn}};
    spi_buf_set tx = {buffers, bn ? 2u : 1u};
    return checked(spi_write_dt(&radio, &tx));
}
int writetospiwithcrc(uint16_t hn, const uint8_t *h, uint16_t bn,
                     const uint8_t *b, uint8_t crc) {
    spi_buf buffers[] = {{const_cast<uint8_t *>(h), hn},
                         {const_cast<uint8_t *>(b), bn}, {&crc, 1}};
    spi_buf_set tx = {buffers, 3};
    return checked(spi_write_dt(&radio, &tx));
}
int readfromspi(uint16_t hn, uint8_t *h, uint16_t bn, uint8_t *b) {
    spi_buf tb[] = {{h, hn}, {nullptr, bn}};
    spi_buf rb[] = {{nullptr, hn}, {b, bn}};
    spi_buf_set tx = {tb, 2}, rx = {rb, 2};
    return checked(spi_transceive_dt(&radio, &tx, &rx));
}
void deca_sleep(uint8_t ms) { k_msleep(ms); }
void deca_usleep(uint8_t us) { k_busy_wait(us); }
/* The only caller is the main thread. No radio ISR or second radio owner:
 * leave the MCU's SPI-completion interrupt enabled during driver operations. */
decaIrqStatus_t decamutexon() { return 0; }
void decamutexoff(decaIrqStatus_t) {}
void wakeup_device_with_io() {
    checked(gpio_pin_configure_dt(&radio.config.cs.gpio, GPIO_OUTPUT_INACTIVE));
    checked(gpio_pin_set_dt(&radio.config.cs.gpio, 1));
    k_busy_wait(600);
    checked(gpio_pin_set_dt(&radio.config.cs.gpio, 0));
    k_msleep(5);
}
```

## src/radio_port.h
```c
#pragma once
int radio_port_init();
extern volatile int radio_port_error;
```
